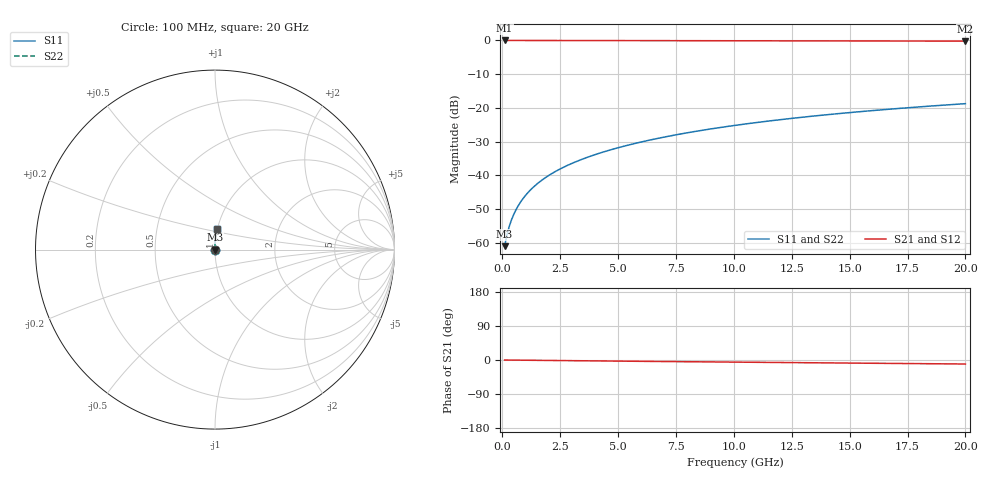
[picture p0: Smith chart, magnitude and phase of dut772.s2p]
! Touchstone file exported from HFSS 2024.1.0
!  File:  C:/UserFiles/LocalFiles/RDL_TSV_Batchsim/temp_RDL_bottom_772_1779860700.aedt
!  Generated:  01:47:20 PM May 27, 2026
!  Design:  RDL_bottom
!  Project:  temp_RDL_bottom_772_1779860700
!  Setup:  Setup1
!  Solution:  Sweep
! Variables:
!  dtsv = 10.80580581um
!  hbump = 3um
!  htsv = 57.33um
!  ldown = 128.87um
!  lrdl = 100um
!  p = 40
!  p1 = 46.15um
!  rhole = 1um
!  t = 450um
!  tdown = 3.94um
!  trdl = 3.915915916um
!  wdown = 23.1um
!  wrdl = 20um
# GHz S MA R 50.000000
! Terminal data exported
! Port[1] = RDL1_T1
! Port[2] = RDL1_T2
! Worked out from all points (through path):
!   200 points, 100 MHz to 20 GHz, reference 50 ohm
!   highest |S21| = -0.01 dB at 100 MHz (marker M1); lowest = -0.2 dB at 20 GHz (marker M2)
!   group delay of S21, straight-line fit = 1.45 ps
!   lowest |S11| = -61.0 dB at 100 MHz (marker M3), VSWR 1.00, Z = 50.1 + j0.0546 ohm
!   |S11| at or under -10 dB: start of sweep to end of sweep
!   |S22| runs from -61.0 to -18.7 dB; largest |S21 - S12| = 3.1e-15
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0.1  0.0008924 37.7  0.9993 -0.1  0.9993 -0.1  0.0008924 37.7
! Gamma 0 0 0 0
! Port Impedance 50 0 50 0
0.2  0.001299 55.2  0.9992 -0.1  0.9992 -0.1  0.001299 55.2
0.3  0.001747 63.7  0.9992 -0.2  0.9992 -0.2  0.001747 63.7
0.4  0.002203 68.8  0.9992 -0.2  0.9992 -0.2  0.002203 68.8
0.5  0.002665 72.3  0.9991 -0.3  0.9991 -0.3  0.002665 72.3
0.6  0.00313 74.9  0.9991 -0.4  0.9991 -0.4  0.00313 74.9
0.8  0.004075 78.5  0.999 -0.5  0.999 -0.5  0.004075 78.5
1.1  0.005515 81.8  0.9989 -0.7  0.9989 -0.7  0.005515 81.8
1.5  0.007466 84.4  0.9987 -0.9  0.9987 -0.9  0.007466 84.4
1.8  0.008947 85.7  0.9985 -1.1  0.9985 -1.1  0.008947 85.7
2.1  0.01044 86.7  0.9983 -1.3  0.9983 -1.3  0.01044 86.7
2.7  0.01348 88.2  0.9978 -1.6  0.9978 -1.6  0.01348 88.2
3.5  0.01762 89.4  0.997 -2.1  0.997 -2.1  0.01762 89.4
4.2  0.02133 90.1  0.9962 -2.5  0.9962 -2.5  0.02133 90.1
5  0.02568 90.6  0.9951 -3.0  0.9951 -3.0  0.02568 90.6
5.9  0.0307 90.9  0.994 -3.5  0.994 -3.5  0.0307 90.9
6.8  0.03584 91.0  0.9927 -3.9  0.9927 -3.9  0.03584 91.0
8.4  0.0452 90.7  0.9906 -4.8  0.9906 -4.8  0.0452 90.7
10.1  0.05539 90.1  0.9884 -5.7  0.9884 -5.7  0.05539 90.1
13.4  0.07548 88.3  0.9844 -7.3  0.9844 -7.3  0.07548 88.3
16.7  0.09561 86.2  0.9807 -9.0  0.9807 -9.0  0.09561 86.2
20  0.1156 84.2  0.977 -10.6  0.977 -10.6  0.1156 84.2
